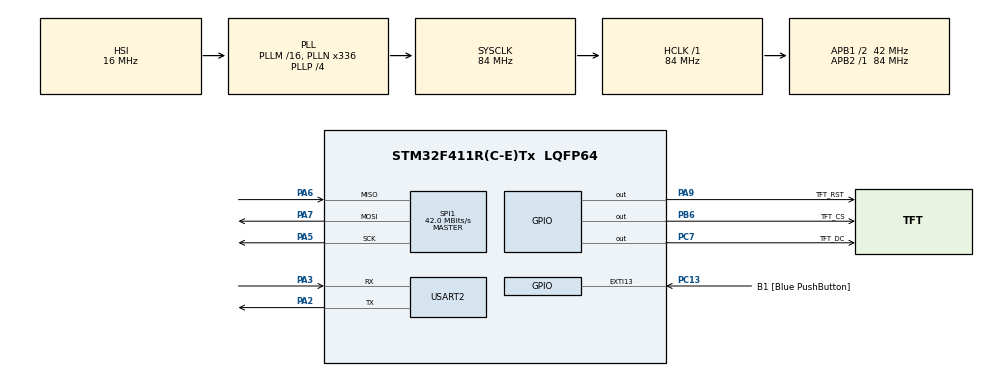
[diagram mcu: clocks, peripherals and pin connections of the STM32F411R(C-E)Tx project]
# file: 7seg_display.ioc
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Mcu.Family=STM32F4
Mcu.Name=STM32F411R(C-E)Tx
Mcu.Package=LQFP64
NVIC.PriorityGroup=NVIC_PRIORITYGROUP_0
PA13.GPIO_Label=TMS
PA13.Mode=Serial_Wire
PA13.Signal=SYS_JTMS-SWDIO
PA14.GPIO_Label=TCK
PA14.Mode=Serial_Wire
PA14.Signal=SYS_JTCK-SWCLK
PA2.Mode=Asynchronous
PA2.Signal=USART2_TX
PA3.Mode=Asynchronous
PA3.Signal=USART2_RX
PA5.Mode=Full_Duplex_Master
PA5.Signal=SPI1_SCK
PA6.Mode=Full_Duplex_Master
PA6.Signal=SPI1_MISO
PA7.Mode=Full_Duplex_Master
PA7.Signal=SPI1_MOSI
PA9.GPIO_Label=TFT_RST
PA9.Signal=GPIO_Output
PB3.GPIO_Label=SWO
PB3.Signal=SYS_JTDO-SWO
PB6.GPIO_Label=TFT_CS
PB6.Signal=GPIO_Output
PC13-ANTI_TAMP.GPIO_Label=B1 [Blue PushButton]
PC13-ANTI_TAMP.GPIO_ModeDefaultEXTI=GPIO_MODE_IT_FALLING
PC13-ANTI_TAMP.Signal=GPXTI13
PC14-OSC32_IN.Mode=LSE-External-Oscillator
PC14-OSC32_IN.Signal=RCC_OSC32_IN
PC15-OSC32_OUT.Mode=LSE-External-Oscillator
PC15-OSC32_OUT.Signal=RCC_OSC32_OUT
PC7.GPIO_Label=TFT_DC
PC7.Signal=GPIO_Output
PH0\ -\ OSC_IN.Mode=HSE-External-Clock-Source
PH0\ -\ OSC_IN.Signal=RCC_OSC_IN
PH1\ -\ OSC_OUT.Mode=HSE-External-Clock-Source
PH1\ -\ OSC_OUT.Signal=RCC_OSC_OUT
ProjectManager.HeapSize=0x200
ProjectManager.StackSize=0x400
ProjectManager.TargetToolchain=STM32CubeIDE
RCC.48MHZClocksFreq_Value=84000000
RCC.AHBFreq_Value=84000000
RCC.APB1CLKDivider=RCC_HCLK_DIV2
RCC.APB1Freq_Value=42000000
RCC.APB1TimFreq_Value=84000000
RCC.APB2Freq_Value=84000000
RCC.APB2TimFreq_Value=84000000
RCC.CortexFreq_Value=84000000
RCC.FLatency-AdvancedSettings=FLASH_LATENCY_2
RCC.HCLKFreq_Value=84000000
RCC.HSE_VALUE=8000000
RCC.HSI_VALUE=16000000
RCC.PLLN=336
RCC.PLLP=RCC_PLLP_DIV4
RCC.SYSCLKFreq_VALUE=84000000
RCC.SYSCLKSource=RCC_SYSCLKSOURCE_PLLCLK
RCC.VCOOutputFreq_Value=336000000
SPI1.CalculateBaudRate=42.0 MBits/s
SPI1.Direction=SPI_DIRECTION_2LINES
SPI1.Mode=SPI_MODE_MASTER
SPI1.VirtualType=VM_MASTER
USART2.VirtualMode=VM_ASYNC
board=NUCLEO-F411RE

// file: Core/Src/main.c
/* USER CODE BEGIN Header */
/**
  ******************************************************************************
  * @file           : main.c
  * @brief          : Main program body
  ******************************************************************************
  * @attention
  *
  * <h2><center>&copy; Copyright (c) 2020 STMicroelectronics.
  * All rights reserved.</center></h2>
  *
  * This software component is licensed by ST under BSD 3-Clause license,
  * the "License"; You may not use this file except in compliance with the
  * License. You may obtain a copy of the License at:
  *                        opensource.org/licenses/BSD-3-Clause
  *
  ******************************************************************************
  */
/* USER CODE END Header */

#include "main.h"
#include "spi.h"
#include "usart.h"
#include "gpio.h"

/* USER CODE BEGIN Includes */
#include "TFT_ILI9341.h"
#include "GFX_Color.h"
//#include "fonts/fonts.h"
////#include "logo.h"
//#include "GFX_EnhancedFonts.h"
//#include "EnhancedFonts/arialBlack_20ptFontInfo.h"
#include "string.h"
#include "stdio.h"
#include <SEGMENTS.h>
/* USER CODE END Includes */

void SystemClock_Config(void);

int main(void)
{

  /* MCU Configuration--------------------------------------------------------*/

  /* Reset of all peripherals, Initializes the Flash interface and the Systick. */
  HAL_Init();

  /* Configure the system clock */
  SystemClock_Config();

  /* Initialize all configured peripherals */
  MX_GPIO_Init();
  MX_SPI1_Init();
  MX_USART2_UART_Init();
  /* USER CODE BEGIN 2 */

  ILI9341_Init(&hspi1);

  ILI9341_ClearDisplay(ILI9341_MAGENTA);
  T7Display LED8;
  DisplayInit(&LED8, 8, N_SEGMENTS14, 0, 50, ILI9341_BLACK, ILI9341_GREEN, GRAPHITE);
  T7Display LED4;
  DisplayInit(&LED4, 4, N_SEGMENTS7, 80, 150, ILI9341_NAVY, ILI9341_YELLOW, GRAPHITE);

  /* USER CODE END 2 */

  /* Infinite loop */
  /* USER CODE BEGIN WHILE */
  while (1)
  {
      uint8_t i;
      char message[] =
	  {"Kurs STM."};
//	{ 0x75, 0x1c, 0x50, 0x6d, 0x00, 0x6d, 0x31, 0x37 };
      SEG7_print_ASCII(&LED8, 0, message);
//      for (i = 0; i < 8; i++)
//	{
//	  uint8_t segments = message[i];
//	  uint8_t digit = i;
//	  SEG7_write_display (&LED8, digit, segments);
//	}
      SEG7_draw_display (&LED8);
      HAL_Delay (5000);

      for (i = 4; i < 19; i++)
	{
	  DisplaySetColor (&LED8, i);
	  SEG7_print_display (&LED8, i);
	  SEG7_draw_display (&LED8);

	  SEG7_HEX_display (&LED4, DisplayGetColor (&LED8));
	  HAL_Delay (1000);
	}
      DisplaySetColor (&LED8, 14);
      SEG7_clr_display(&LED4);

      /* USER CODE END WHILE */

  }
}

void SystemClock_Config(void)
{
  RCC_OscInitTypeDef RCC_OscInitStruct = {0};
  RCC_ClkInitTypeDef RCC_ClkInitStruct = {0};

  /** Configure the main internal regulator output voltage
  */
  __HAL_RCC_PWR_CLK_ENABLE();
  __HAL_PWR_VOLTAGESCALING_CONFIG(PWR_REGULATOR_VOLTAGE_SCALE1);

  /** Initializes the RCC Oscillators according to the specified parameters
  * in the RCC_OscInitTypeDef structure.
  */
  RCC_OscInitStruct.OscillatorType = RCC_OSCILLATORTYPE_HSI;
  RCC_OscInitStruct.HSIState = RCC_HSI_ON;
  RCC_OscInitStruct.HSICalibrationValue = RCC_HSICALIBRATION_DEFAULT;
  RCC_OscInitStruct.PLL.PLLState = RCC_PLL_ON;
  RCC_OscInitStruct.PLL.PLLSource = RCC_PLLSOURCE_HSI;
  RCC_OscInitStruct.PLL.PLLM = 16;
  RCC_OscInitStruct.PLL.PLLN = 336;
  RCC_OscInitStruct.PLL.PLLP = RCC_PLLP_DIV4;
  RCC_OscInitStruct.PLL.PLLQ = 4;
  if (HAL_RCC_OscConfig(&RCC_OscInitStruct) != HAL_OK)
  {
    Error_Handler();
  }

  /** Initializes the CPU, AHB and APB buses clocks
  */
  RCC_ClkInitStruct.ClockType = RCC_CLOCKTYPE_HCLK|RCC_CLOCKTYPE_SYSCLK
                              |RCC_CLOCKTYPE_PCLK1|RCC_CLOCKTYPE_PCLK2;
  RCC_ClkInitStruct.SYSCLKSource = RCC_SYSCLKSOURCE_PLLCLK;
  RCC_ClkInitStruct.AHBCLKDivider = RCC_SYSCLK_DIV1;
  RCC_ClkInitStruct.APB1CLKDivider = RCC_HCLK_DIV2;
  RCC_ClkInitStruct.APB2CLKDivider = RCC_HCLK_DIV1;

  if (HAL_RCC_ClockConfig(&RCC_ClkInitStruct, FLASH_LATENCY_2) != HAL_OK)
  {
    Error_Handler();
  }
}

void Error_Handler(void)
{
}
